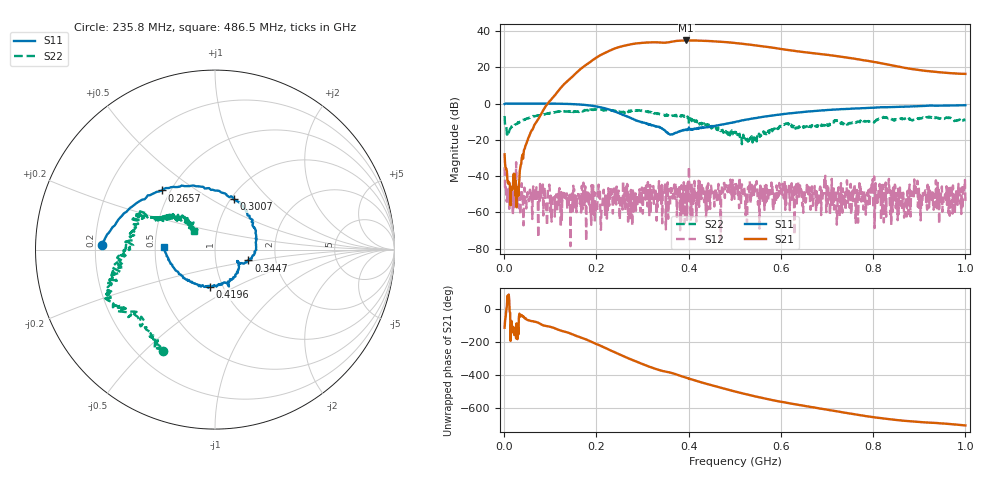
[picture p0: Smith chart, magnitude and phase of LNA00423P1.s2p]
! Created with skrf 1.9.0 (http://scikit-rf.org).
# Hz S RI R 50.0
!freq ReS11 ImS11 ReS21 ImS21 ReS12 ImS12 ReS22 ImS22
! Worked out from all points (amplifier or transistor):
!   1001 points, 1 MHz to 1 GHz, reference 50 ohm
!   highest |S21| = 34.8 dB at 394.6 MHz (marker M1)
!   |S21| within 3 dB of that: 259.3 MHz to 554.4 MHz (295.1 MHz wide, 72.5 % of centre)
!   unconditionally stable (mu >= 1): 258 MHz to 311.6 MHz; 311.7 MHz to 400.3 MHz; 401.1 MHz to end of sweep (the widest 3 of 34)
!   at 166.8 MHz: K = 3.55, MAG = 31.3 dB, |S12| = -60.1 dB
!   at 500.5 MHz: K = 1.64, MAG = 33.9 dB, |S12| = -43.7 dB
!   at 1 GHz: K = 5.99, MAG = 24.3 dB, |S12| = -53.7 dB
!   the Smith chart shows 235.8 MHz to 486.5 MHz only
!   S11 on the Smith chart (normalised r, x): 235.8 MHz: 0.23, +0.02; 265.7 MHz: 0.45, +0.37; 300.7 MHz: 1.04, +0.64; 344.7 MHz: 1.44, -0.18; 419.6 MHz: 0.87, -0.38; 486.5 MHz: 0.56, +0.02
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1000000  0.9764 0.000675  -0.0171 -0.0359  -0.0108 0.0139  0.3265 0.3161
1.08892e8  0.5307 -0.842  -0.7696 -1.453  0.00234 -0.00164  0.4232 -0.3651
1.67833e8  -0.2151 -0.9103  -9.432 -0.6167  0.00424 0.00299  0.0423 -0.6335
2.07793e8  -0.6517 -0.4488  -15.52 14.51  -0.00217 -0.00301  -0.201 -0.6628
2.35765e8  -0.6277 0.0258  -5.731 30.96  0.000923 -8.71e-05  -0.287 -0.5649
2.65735e8  -0.2954 0.3296  18.24 36.33  0.000595 -0.0021  -0.4836 -0.3762
3.007e8  0.1071 0.2804  43.53 18.83  -0.000159 0.000904  -0.5754 -0.1891
3.18682e8  0.212 0.1505  48.93 4.039  -0.00416 0.00191  -0.5593 -0.1285
3.34666e8  0.2284 0.00211  47.79 -9.087  -0.00142 0.0033  -0.5172 -0.0388
3.44656e8  0.1858 -0.0601  44.95 -15.26  -0.00258 0.00226  -0.4968 0.00954
3.7063e8  0.1328 -0.0768  42.74 -31.17  -0.00357 0.00286  -0.4281 0.143
3.94606e8  0.092 -0.1647  28.7 -47.02  -0.000243 0.00213  -0.4021 0.182
4.19581e8  -0.027 -0.2068  9.488 -53.85  0.000799 0.00343  -0.2668 0.1725
4.49551e8  -0.1768 -0.1589  -12.88 -51.05  -0.000793 0.00399  -0.1476 0.1432
4.86514e8  -0.2846 0.0146  -32.54 -36.36  0.00337 9.05e-05  -0.1156 0.1012
5.005e8  -0.2918 0.0941  -37.16 -28.97  0.00168 -0.0063  -0.1534 0.0643
5.38462e8  -0.2435 0.2962  -40.59 -8.658  0.00138 -0.00509  -0.0848 0.000951
5.83417e8  -0.0704 0.4661  -33.27 9.219  -0.000118 -0.00111  -0.1952 -0.0362
6.67333e8  0.3152 0.5294  -13.41 20.65  0.00039 -0.0052  -0.2555 0.01
7.55245e8  0.6258 0.3672  2.421 17.4  -0.00309 -0.00246  -0.2918 0.0787
8.34166e8  0.782 0.1488  7.484 9.077  -0.00616 -0.00571  -0.3664 0.1281
1e9  0.8124 -0.3909  6.443 1.389  -0.00169 0.00118  -0.0778 0.3408
